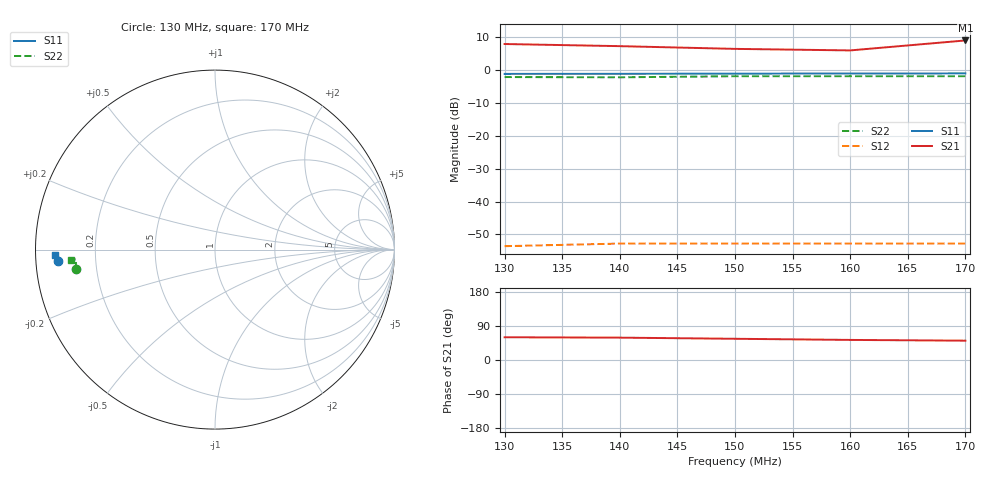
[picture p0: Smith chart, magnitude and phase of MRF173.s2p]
! MACRON
! MRF173
! VDS =  28 V,  IC =  4 A
! Common Source S-Parameters:  Jan 2020
# GHz  S  MA  R  50
!  f  S11  S21  S12  S22
! GHz  MAG  ANG  MAG  ANG  MAG  ANG  MAG  ANG
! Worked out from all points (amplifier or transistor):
!   5 points, 130 MHz to 170 MHz, reference 50 ohm
!   highest |S21| = 9.0 dB at 170 MHz (marker M1)
!   |S21| within 3 dB of that: start of sweep to 159.4 MHz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
!   unconditionally stable (mu >= 1): start of sweep to end of sweep
!   at 130 MHz: K = 8.71, MAG = 18.3 dB, |S12| = -53.6 dB
!   at 150 MHz: K = 8.17, MAG = 17.5 dB, |S12| = -52.8 dB
!   at 170 MHz: K = 5.82, MAG = 20.3 dB, |S12| = -52.8 dB
0.13  0.875 -176.0  2.49 60.0  0.0021 45.0  0.783 -172.0
0.14  0.877 -177.0  2.31 59.0  0.0023 51.0  0.776 -176.0
0.15  0.883 -177.0  2.1 56.0  0.0023 55.0  0.806 -176.0
0.16  0.886 -177.0  1.99 53.0  0.0023 58.0  0.807 -176.0
0.17  0.89 -178.0  2.82 51.0  0.0023 61.0  0.806 -176.0
